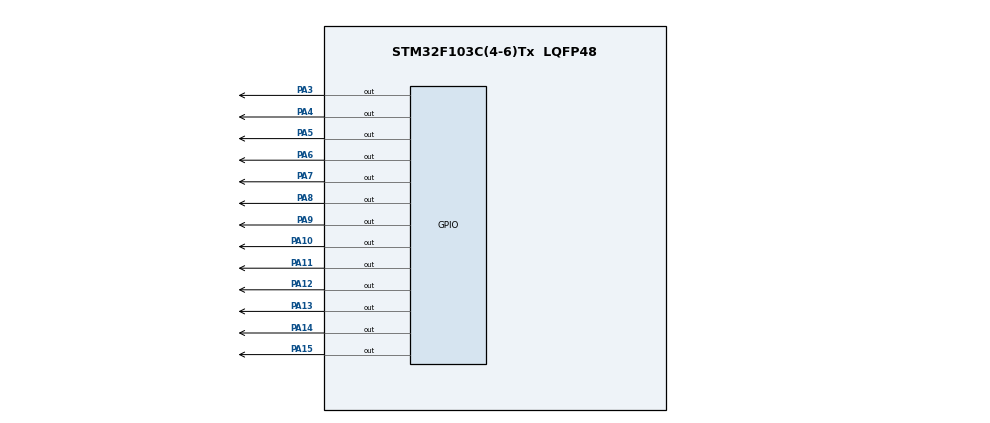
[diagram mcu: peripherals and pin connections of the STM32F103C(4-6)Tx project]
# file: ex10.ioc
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Mcu.Family=STM32F1
Mcu.Name=STM32F103C(4-6)Tx
Mcu.Package=LQFP48
NVIC.PriorityGroup=NVIC_PRIORITYGROUP_4
PA10.Signal=GPIO_Output
PA11.Signal=GPIO_Output
PA12.Signal=GPIO_Output
PA13.Signal=GPIO_Output
PA14.Signal=GPIO_Output
PA15.Signal=GPIO_Output
PA3.Signal=GPIO_Output
PA4.Signal=GPIO_Output
PA5.Signal=GPIO_Output
PA6.Signal=GPIO_Output
PA7.Signal=GPIO_Output
PA8.Signal=GPIO_Output
PA9.Signal=GPIO_Output
ProjectManager.HeapSize=0x200
ProjectManager.StackSize=0x400
ProjectManager.TargetToolchain=STM32CubeIDE
RCC.APB1Freq_Value=8000000
RCC.APB2Freq_Value=8000000
board=custom

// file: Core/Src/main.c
/* USER CODE BEGIN Header */
/**
  ******************************************************************************
  * @file           : main.c
  * @brief          : Main program body
  ******************************************************************************
  * @attention
  *
  * Copyright (c) 2023 STMicroelectronics.
  * All rights reserved.
  *
  * This software is licensed under terms that can be found in the LICENSE file
  * in the root directory of this software component.
  * If no LICENSE file comes with this software, it is provided AS-IS.
  *
  ******************************************************************************
  */
/* USER CODE END Header */
#include "main.h"

void SystemClock_Config(void);
static void MX_GPIO_Init(void);

/* USER CODE BEGIN 0 */
int led_state[12] = {1,1,1,1,1,1,1,1,1,1,1,1};// state array of 12 led (1 is turn off , 0 is turn on)

void display_clock(){
	HAL_GPIO_WritePin(GPIOA,GPIO_PIN_4,led_state[0]);
	HAL_GPIO_WritePin(GPIOA,GPIO_PIN_5,led_state[1]);
	HAL_GPIO_WritePin(GPIOA,GPIO_PIN_6,led_state[2]);
	HAL_GPIO_WritePin(GPIOA,GPIO_PIN_7,led_state[3]);
	HAL_GPIO_WritePin(GPIOA,GPIO_PIN_8,led_state[4]);
	HAL_GPIO_WritePin(GPIOA,GPIO_PIN_9,led_state[5]);
	HAL_GPIO_WritePin(GPIOA,GPIO_PIN_10,led_state[6]);
	HAL_GPIO_WritePin(GPIOA,GPIO_PIN_11,led_state[7]);
	HAL_GPIO_WritePin(GPIOA,GPIO_PIN_12,led_state[8]);
	HAL_GPIO_WritePin(GPIOA,GPIO_PIN_13,led_state[9]);
	HAL_GPIO_WritePin(GPIOA,GPIO_PIN_14,led_state[10]);
	HAL_GPIO_WritePin(GPIOA,GPIO_PIN_15,led_state[11]);
}

void clearAllClock(){
	for (int i = 0; i < 12; i++) {
		led_state[i] = 1;
	}
	display_clock(); // Update the display
}

void setNumberOnClock(int num){
	if (num >= 0 && num < 12) {
		led_state[num] = 0;
		display_clock(); // Update the display
	}

//	led_state[num%12] = 0;
//	display_clock();
}

void clearNumberOnClock(int num) {
	if (num >= 0 && num < 12) {
		led_state[num] = 1;
		display_clock(); // Update the display
	}
}

// Function to display the clock
void displayClock(int hours, int minutes, int seconds){
    // Clear the clock
    clearAllClock();

    // Display hours, minutes, and seconds
    setNumberOnClock(hours);   // Display hours on one LED
    setNumberOnClock(minutes); // Display minutes on another LED
    setNumberOnClock(seconds); // Display seconds on another LED
}

// Function to increment time and restart at 00:00 after 12 hours
int hours = 0;
int minutes = 0;
int seconds = 0;
int timeCounter_second = 0;
int timeCounter_minutes = 0;
void incrementTime(int *hours, int *minutes, int *seconds){

	timeCounter_second ++;

	if(timeCounter_second == 5){
		timeCounter_second = 0;
		(*seconds)++;

		if (*seconds >= 12){
			*seconds = 0;
			timeCounter_minutes ++;

			if(timeCounter_minutes == 5){
				timeCounter_minutes = 0;
				(*minutes)++;

				if (*minutes >= 12){
					*minutes = 0;
					(*hours)++;

					if (*hours >= 12){
						*hours = 0;
					}

				}

			}

		}

	}

}

/* USER CODE END 0 */

int main(void)
{

  /* MCU Configuration--------------------------------------------------------*/

  /* Reset of all peripherals, Initializes the Flash interface and the Systick. */
  HAL_Init();

  /* Configure the system clock */
  SystemClock_Config();

  /* Initialize all configured peripherals */
  MX_GPIO_Init();

  /* Infinite loop */
  /* USER CODE BEGIN WHILE */
  while (1)
  {
	  displayClock(hours, minutes, seconds);
	  incrementTime(&hours, &minutes, &seconds);

	  HAL_Delay(1000);

    /* USER CODE END WHILE */

  }
}

void SystemClock_Config(void)
{
  RCC_OscInitTypeDef RCC_OscInitStruct = {0};
  RCC_ClkInitTypeDef RCC_ClkInitStruct = {0};

  /** Initializes the RCC Oscillators according to the specified parameters
  * in the RCC_OscInitTypeDef structure.
  */
  RCC_OscInitStruct.OscillatorType = RCC_OSCILLATORTYPE_HSI;
  RCC_OscInitStruct.HSIState = RCC_HSI_ON;
  RCC_OscInitStruct.HSICalibrationValue = RCC_HSICALIBRATION_DEFAULT;
  RCC_OscInitStruct.PLL.PLLState = RCC_PLL_NONE;
  if (HAL_RCC_OscConfig(&RCC_OscInitStruct) != HAL_OK)
  {
    Error_Handler();
  }

  /** Initializes the CPU, AHB and APB buses clocks
  */
  RCC_ClkInitStruct.ClockType = RCC_CLOCKTYPE_HCLK|RCC_CLOCKTYPE_SYSCLK
                              |RCC_CLOCKTYPE_PCLK1|RCC_CLOCKTYPE_PCLK2;
  RCC_ClkInitStruct.SYSCLKSource = RCC_SYSCLKSOURCE_HSI;
  RCC_ClkInitStruct.AHBCLKDivider = RCC_SYSCLK_DIV1;
  RCC_ClkInitStruct.APB1CLKDivider = RCC_HCLK_DIV1;
  RCC_ClkInitStruct.APB2CLKDivider = RCC_HCLK_DIV1;

  if (HAL_RCC_ClockConfig(&RCC_ClkInitStruct, FLASH_LATENCY_0) != HAL_OK)
  {
    Error_Handler();
  }
}

static void MX_GPIO_Init(void)
{
  GPIO_InitTypeDef GPIO_InitStruct = {0};

  /* GPIO Ports Clock Enable */
  __HAL_RCC_GPIOA_CLK_ENABLE();

  /*Configure GPIO pin Output Level */
  HAL_GPIO_WritePin(GPIOA, GPIO_PIN_3|GPIO_PIN_4|GPIO_PIN_5|GPIO_PIN_6
                          |GPIO_PIN_7|GPIO_PIN_8|GPIO_PIN_9|GPIO_PIN_10
                          |GPIO_PIN_11|GPIO_PIN_12|GPIO_PIN_13|GPIO_PIN_14
                          |GPIO_PIN_15, GPIO_PIN_RESET);

  /*Configure GPIO pins : PA3 PA4 PA5 PA6
                           PA7 PA8 PA9 PA10
                           PA11 PA12 PA13 PA14
                           PA15 */
  GPIO_InitStruct.Pin = GPIO_PIN_3|GPIO_PIN_4|GPIO_PIN_5|GPIO_PIN_6
                          |GPIO_PIN_7|GPIO_PIN_8|GPIO_PIN_9|GPIO_PIN_10
                          |GPIO_PIN_11|GPIO_PIN_12|GPIO_PIN_13|GPIO_PIN_14
                          |GPIO_PIN_15;
  GPIO_InitStruct.Mode = GPIO_MODE_OUTPUT_PP;
  GPIO_InitStruct.Pull = GPIO_NOPULL;
  GPIO_InitStruct.Speed = GPIO_SPEED_FREQ_LOW;
  HAL_GPIO_Init(GPIOA, &GPIO_InitStruct);

}

void Error_Handler(void)
{
  __disable_irq();
  while (1)
  {
  }
}
